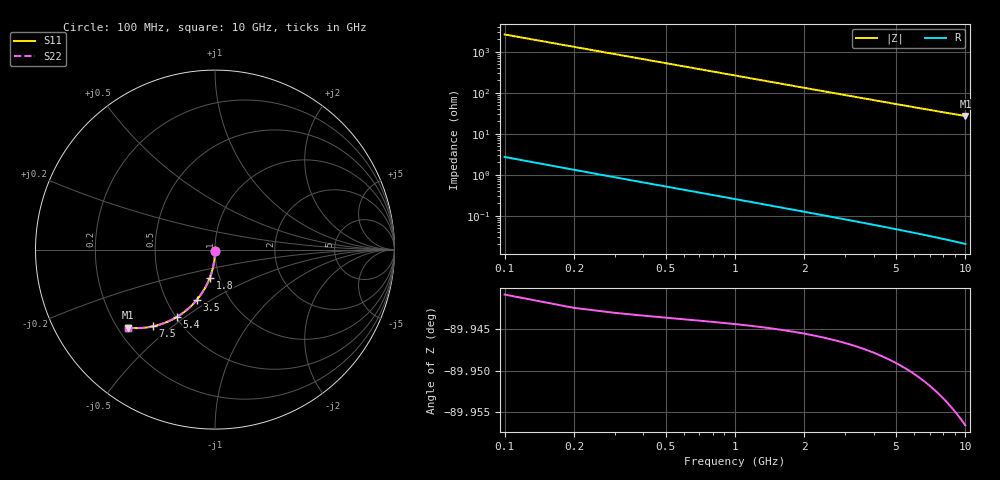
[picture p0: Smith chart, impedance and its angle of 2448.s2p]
# Hz S RI R 50.00
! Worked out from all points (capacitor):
!   100 points, 100 MHz to 10 GHz, reference 50 ohm
!   read as one part in shunt: C = 607 fF near 100 MHz
!   lowest |Z| = 27 ohm at 10 GHz (marker M1)
!   S11 on the Smith chart (normalised r, x): 100 MHz: 1.00, -0.02; 1.8 GHz: 0.90, -0.29; 3.5 GHz: 0.71, -0.43; 5.4 GHz: 0.51, -0.47; 7.5 GHz: 0.35, -0.43; 10 GHz: 0.24, -0.36
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1e8  0.000137 -0.0089  0.9997 -0.0102  0.9997 -0.0102  0.000137 -0.0089
2e8  -0.000142 -0.0178  0.9994 -0.0203  0.9994 -0.0203  -0.000142 -0.0178
3e8  -0.000601 -0.0267  0.9989 -0.0305  0.9989 -0.0305  -0.000601 -0.0267
4e8  -0.00124 -0.0355  0.9983 -0.0406  0.9983 -0.0406  -0.00124 -0.0355
5e8  -0.00206 -0.0444  0.9974 -0.0507  0.9974 -0.0507  -0.00206 -0.0444
6e8  -0.00306 -0.0532  0.9964 -0.0608  0.9964 -0.0608  -0.00306 -0.0532
8e8  -0.00559 -0.0708  0.9939 -0.0809  0.9939 -0.0809  -0.00559 -0.0708
1.1e9  -0.0107 -0.0968  0.9887 -0.1107  0.9887 -0.1107  -0.0107 -0.0968
1.4e9  -0.0173 -0.1223  0.982 -0.14  0.982 -0.14  -0.0173 -0.1223
1.8e9  -0.0285 -0.1555  0.9708 -0.1782  0.9708 -0.1782  -0.0285 -0.1555
2.1e9  -0.0384 -0.1795  0.9607 -0.206  0.9607 -0.206  -0.0384 -0.1795
2.5e9  -0.0537 -0.2101  0.9453 -0.2417  0.9453 -0.2417  -0.0537 -0.2101
2.9e9  -0.0711 -0.2391  0.9277 -0.2758  0.9277 -0.2758  -0.0711 -0.2391
3.4e9  -0.0954 -0.2727  0.9032 -0.3157  0.9032 -0.3157  -0.0954 -0.2727
3.5e9  -0.1005 -0.2791  0.898 -0.3234  0.898 -0.3234  -0.1005 -0.2791
4.3e9  -0.1449 -0.3252  0.8531 -0.3797  0.8531 -0.3797  -0.1449 -0.3252
5.1e9  -0.1931 -0.3628  0.8043 -0.4277  0.8043 -0.4277  -0.1931 -0.3628
5.4e9  -0.2118 -0.3747  0.7853 -0.4435  0.7853 -0.4435  -0.2118 -0.3747
6.7e9  -0.2943 -0.4133  0.7015 -0.499  0.7015 -0.499  -0.2943 -0.4133
7.5e9  -0.3444 -0.4274  0.6504 -0.5236  0.6504 -0.5236  -0.3444 -0.4274
8.4e9  -0.3987 -0.4357  0.5949 -0.5438  0.5949 -0.5438  -0.3987 -0.4357
1e10  -0.4873 -0.4345  0.5037 -0.5643  0.5037 -0.5643  -0.4873 -0.4345
